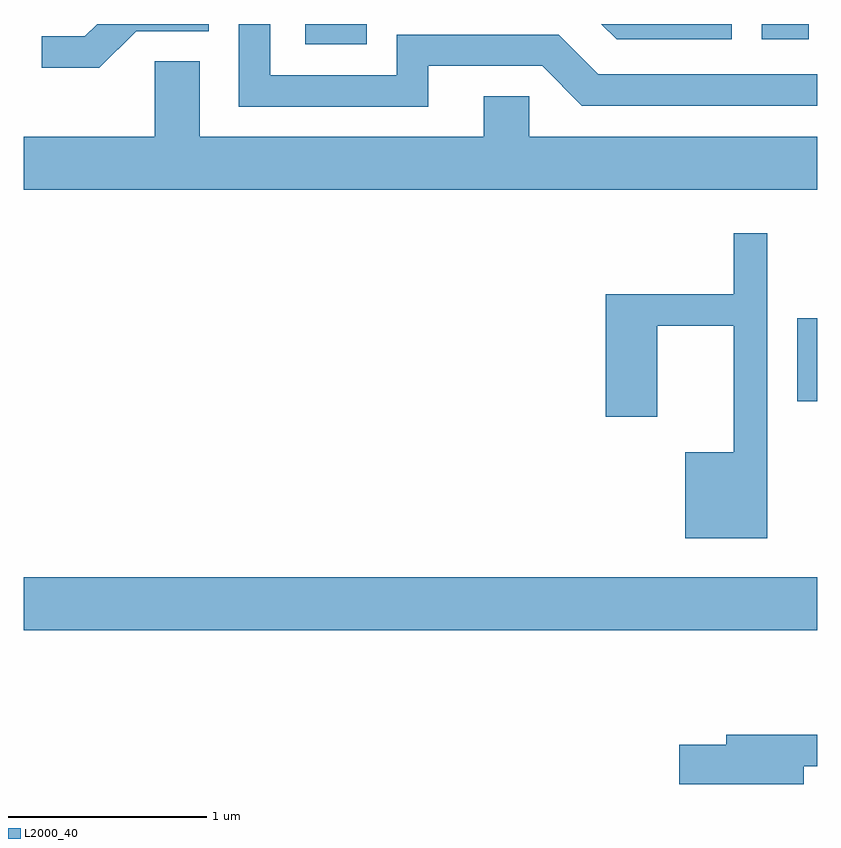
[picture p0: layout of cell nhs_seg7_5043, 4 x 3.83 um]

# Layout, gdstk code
import gdstk
lib = gdstk.Library(unit=1e-6, precision=1e-09)
def R(c, l, rs):  # rectangles x0, y0, x1, y1
    for r in rs: c.add(gdstk.rectangle(r[:2], r[2:], *l))
def P(c, l, *ps):  # polygons
    for p in ps: c.add(gdstk.Polygon(p, *l))
L2000_40 = (2000, 40)

nhs_seg7_5043 = lib.new_cell('nhs_seg7_5043')
R(nhs_seg7_5043, L2000_40, [(339.611,1723.196,343.611,1723.464), (343.511,1724.351,343.611,1724.769), (341.031,1726.151,341.339,1726.252), (343.331,1726.176,343.568,1726.252)])
P(nhs_seg7_5043, L2000_40, [(343.179,1726.252),(342.523,1726.252),(342.599,1726.176),(343.179,1726.176)],
  [(340.177,1726.216),(340.544,1726.216),(340.544,1726.252),(339.982,1726.252),(339.919,1726.189),(339.703,1726.189),(339.703,1726.031),(339.992,1726.031)],
  [(341.649,1726.041),(342.224,1726.041),(342.424,1725.841),(343.611,1725.841),(343.611,1725.999),(342.507,1725.999),(342.307,1726.199),(341.491,1726.199),(341.491,1725.994),(340.854,1725.994),(340.854,1726.252),(340.696,1726.252),(340.696,1725.836),(341.649,1725.836)],
  [(343.611,1725.684),(342.159,1725.684),(342.159,1725.889),(341.931,1725.889),(341.931,1725.684),(340.499,1725.684),(340.499,1726.064),(340.271,1726.064),(340.271,1725.684),(339.611,1725.684),(339.611,1725.416),(343.611,1725.416)],
  [(343.359,1725.198),(343.191,1725.198),(343.191,1724.889),(342.546,1724.889),(342.546,1724.271),(342.804,1724.271),(342.804,1724.731),(343.191,1724.731),(343.191,1724.094),(342.946,1724.094),(342.946,1723.661),(343.359,1723.661)],
  [(343.544,1722.511),(343.611,1722.511),(343.611,1722.669),(343.151,1722.669),(343.151,1722.619),(342.916,1722.619),(342.916,1722.421),(343.544,1722.421)])

lib.write_gds('nhs_seg7_5043.gds')
